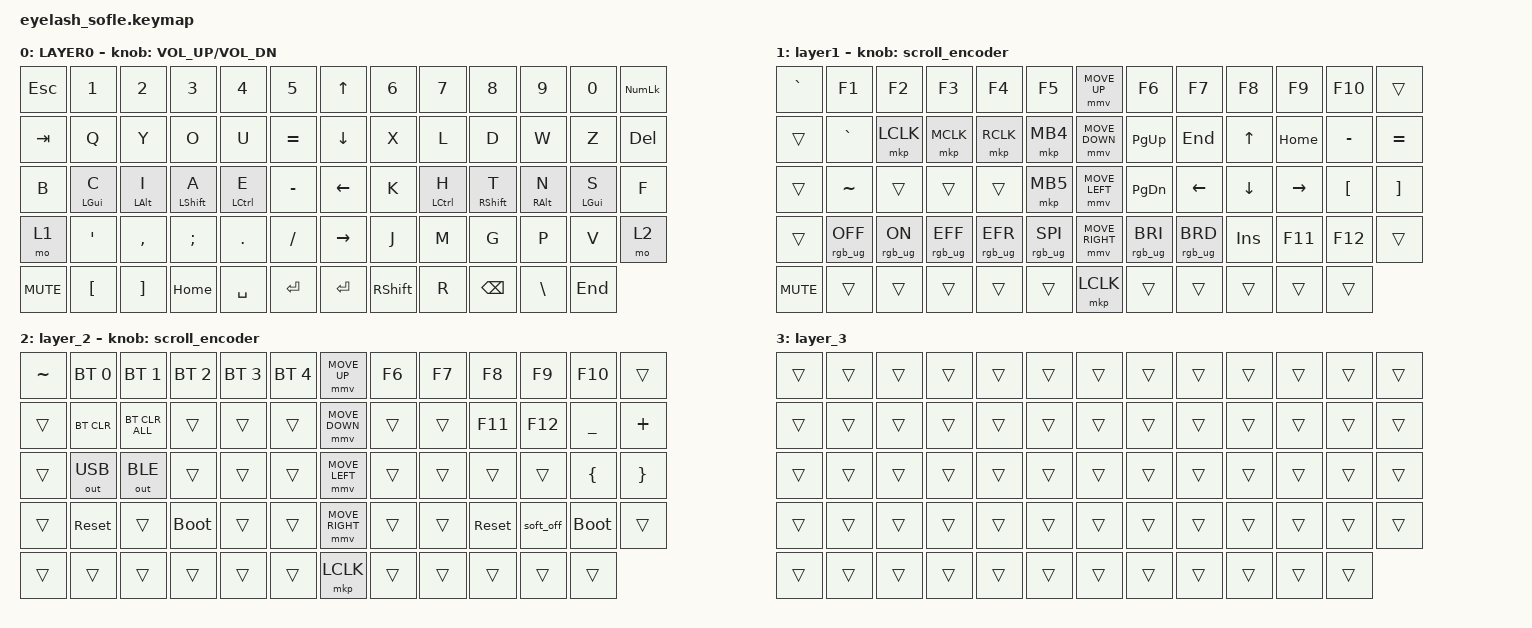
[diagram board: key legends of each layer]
#define ZMK_POINTING_DEFAULT_MOVE_VAL 1200  // 600
#define ZMK_POINTING_DEFAULT_SCRL_VAL 35    // 10

#include <input/processors.dtsi>
#include <zephyr/dt-bindings/input/input-event-codes.h>
/* #include <include/zmk-helpers/helper.h> // Requires zmk-helpers module */
#include <dt-bindings/zmk/bt.h>
#include <dt-bindings/zmk/keys.h>
#include <dt-bindings/zmk/outputs.h>
#include <dt-bindings/zmk/pointing.h>
#include <dt-bindings/zmk/rgb.h>
#include "include/zmk-helpers/helper.h"
#include "include/zmk-helpers/key-labels/eyelashsofle.h"

#define DEF 0
#define NAV 1
#define FN 2
#define NUM 3
#define SYS 4
#define MOUSE 5

#define XXX &none
#define ___ &trans

/* Global defaults */

#define QUICK_TAP_MS 175

&sk {
  release-after-ms = <900>;
  quick-release;
};

&sl { // Allow sticky mods to chord across sticky layers.
  ignore-modifiers;
};

&lt {
  flavor = "balanced";
  tapping-term-ms = <200>;
  quick-tap-ms = <QUICK_TAP_MS>;
};

/* Homerow mods */
#define KEYS_L LT0 LT1 LT2 LT3 LT4 LM0 LM1 LM2 LM3 LM4 LB0 LB1 LB2 LB3 LB4  // Left-hand keys.
#define KEYS_R RT0 RT1 RT2 RT3 RT4 RM0 RM1 RM2 RM3 RM4 RB0 RB1 RB2 RB3 RB4  // Right-hand keys.
#define THUMBS LH2 LH1 LH0 RH0 RH1 RH2                                      // Thumb keys.

/* Left-hand HRMs. */
ZMK_HOLD_TAP(hml,
    flavor = "balanced";
    tapping-term-ms = <280>;
    quick-tap-ms = <175>;
    require-prior-idle-ms = <150>;
    bindings = <&kp>, <&kp>;
    hold-trigger-key-positions = <KEYS_R THUMBS>;
    hold-trigger-on-release;
)

/* Right-hand HRMs. */
ZMK_HOLD_TAP(hmr,
    flavor = "balanced";
    tapping-term-ms = <280>;
    quick-tap-ms = <175>;
    require-prior-idle-ms = <150>;
    bindings = <&kp>, <&kp>;
    hold-trigger-key-positions = <KEYS_L THUMBS>;
    hold-trigger-on-release;
)
/* End Homerow mods */

/ {
    zip_scroll_scaler: zip_scroll_scaler {
        compatible = "zmk,input-processor-scaler";
        #input-processor-cells = <2>;
        type = <INPUT_EV_REL>;
        codes = <INPUT_REL_WHEEL INPUT_REL_HWHEEL>;
        track-remainders;
    };
};

&mmv_input_listener { input-processors = <&zip_xy_scaler 2 1>; };

&msc_input_listener { input-processors = <&zip_scroll_scaler 2 1>; };

&msc {
    acceleration-exponent = <0>;      // 0
    time-to-max-speed-ms = <0>;       // 300
    delay-ms = <0>;                   // 0
};

&mmv {
    time-to-max-speed-ms = <400>;
    acceleration-exponent = <1>;
};

/ {
    scroll_encoder: scroll_encoder {
        compatible = "zmk,behavior-sensor-rotate";
        #sensor-binding-cells = <0>;
        bindings = <&msc SCRL_DOWN>, <&msc SCRL_UP>;

        tap-ms = <30>;
    };

    behaviors {
    };

    keymap {
        compatible = "zmk,keymap";

        layer0 {
            bindings = <
&kp ESC     &kp N1            &kp N2             &kp N3         &kp N4          &kp N5       &kp UP_ARROW     &kp N6           &kp N7          &kp N8         &kp N9        &kp N0       &kp KP_NUMLOCK
&kp TAB     &kp Q             &kp Y              &kp O          &kp U           &kp EQUAL    &kp DOWN_ARROW   &kp X            &kp L           &kp D          &kp W         &kp Z        &kp DELETE
&kp B       &hml LGUI  C      &hml LALT I        &hml LSHFT A   &hmr LCTRL E    &kp MINUS    &kp LEFT_ARROW   &kp K            &hmr LCTRL H    &hmr RSHFT T   &hmr RALT N   &hmr LGUI S  &kp F
&mo 1       &kp SQT           &kp COMMA          &kp SEMICOLON  &kp PERIOD      &kp SLASH    &kp RIGHT_ARROW  &kp J            &kp M           &kp G          &kp P         &kp V        &mo 2
&kp C_MUTE  &kp LEFT_BRACKET  &kp RIGHT_BRACKET  &kp HOME       &kp SPACE       &kp RET      &kp ENTER        &kp RIGHT_SHIFT  &kp R           &kp BACKSPACE  &kp BSLH      &kp END
            >;

            sensor-bindings = <&inc_dec_kp C_VOLUME_UP C_VOL_DN>;
            display-name = "LAYER0";
        };

        layer_1 {
            bindings = <
&kp GRAVE   &kp F1           &kp F2          &kp F3           &kp F4           &kp F5             &mmv MOVE_UP     &kp F6           &kp F7           &kp F8      &kp F9     &kp F10           &trans
&trans      &kp GRAVE        &mkp LCLK       &mkp MCLK        &mkp RCLK        &mkp MB4           &mmv MOVE_DOWN   &kp PG_UP        &kp END          &kp UP      &kp HOME   &kp MINUS         &kp EQUAL
&trans      &kp TILDE        &trans          &trans           &trans           &mkp MB5           &mmv MOVE_LEFT   &kp PG_DN        &kp LEFT         &kp DOWN    &kp RIGHT  &kp LEFT_BRACKET  &kp RIGHT_BRACKET
&trans      &rgb_ug RGB_OFF  &rgb_ug RGB_ON  &rgb_ug RGB_EFF  &rgb_ug RGB_EFR  &rgb_ug RGB_SPI    &mmv MOVE_RIGHT  &rgb_ug RGB_BRI  &rgb_ug RGB_BRD  &kp INSERT  &kp F11    &kp F12           &trans
&kp C_MUTE  &trans           &trans          &trans           &trans           &trans             &mkp LCLK        &trans           &trans           &trans      &trans     &trans
            >;

            display-name = "layer1";
            sensor-bindings = <&scroll_encoder>;
        };

        layer_2 {
            bindings = <
&kp TILDE  &bt BT_SEL 0  &bt BT_SEL 1    &bt BT_SEL 2  &bt BT_SEL 3  &bt BT_SEL 4    &mmv MOVE_UP     &kp F6  &kp F7  &kp F8      &kp F9     &kp F10      &trans
&trans     &bt BT_CLR    &bt BT_CLR_ALL  &trans        &trans        &trans          &mmv MOVE_DOWN   &trans  &trans  &kp F11     &kp F12    &kp UNDER    &kp PLUS
&trans     &out OUT_USB  &out OUT_BLE    &trans        &trans        &trans          &mmv MOVE_LEFT   &trans  &trans  &trans      &trans     &kp LBRC     &kp RBRC
&trans     &sys_reset    &trans          &bootloader   &trans        &trans          &mmv MOVE_RIGHT  &trans  &trans  &sys_reset  &soft_off  &bootloader  &trans
&trans     &trans        &trans          &trans        &trans        &trans          &mkp LCLK        &trans  &trans  &trans      &trans     &trans
            >;

            sensor-bindings = <&scroll_encoder>;
        };

        layer_3 {
            bindings = <
&trans  &trans  &trans  &trans  &trans  &trans    &trans  &trans  &trans  &trans  &trans  &trans  &trans
&trans  &trans  &trans  &trans  &trans  &trans    &trans  &trans  &trans  &trans  &trans  &trans  &trans
&trans  &trans  &trans  &trans  &trans  &trans    &trans  &trans  &trans  &trans  &trans  &trans  &trans
&trans  &trans  &trans  &trans  &trans  &trans    &trans  &trans  &trans  &trans  &trans  &trans  &trans
&trans  &trans  &trans  &trans  &trans  &trans    &trans  &trans  &trans  &trans  &trans  &trans
            >;
        };
    };
};
